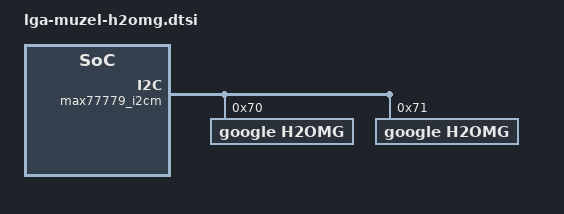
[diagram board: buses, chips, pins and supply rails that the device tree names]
// SPDX-License-Identifier: GPL-2.0-only
/*
 * Mustang h2omg definition
 *
 * Copyright 2024 Google LLC
 *
 */

&max77779_i2cm {
	h2omg@70 {
		reg = <0x70>;
		compatible = "google,h2omg";

		control = /bits/ 8 <0x47>;

		pinctrl-names = "default";
		pinctrl-0 = <&drip2ap_int_od_l_1v2_sleep>;
		h2omg_irq-gpios = <DRIP2AP_INT_OD_L_1V2(GPIO_ACTIVE_LOW)>;

		/* require both sensors to trigger fuse */
		dual-trigger;
	};

	h2omg@71 {
		reg = <0x71>;
		compatible = "google,h2omg";

		control = /bits/ 8 <0x47>;

		pinctrl-names = "default";
		pinctrl-0 = <&drip2ap_int_od_l_1v2_sleep>;
		h2omg_irq-gpios = <DRIP2AP_INT_OD_L_1V2(GPIO_ACTIVE_LOW)>;

		/* require both sensors to trigger fuse */
		dual-trigger;
	};
};
